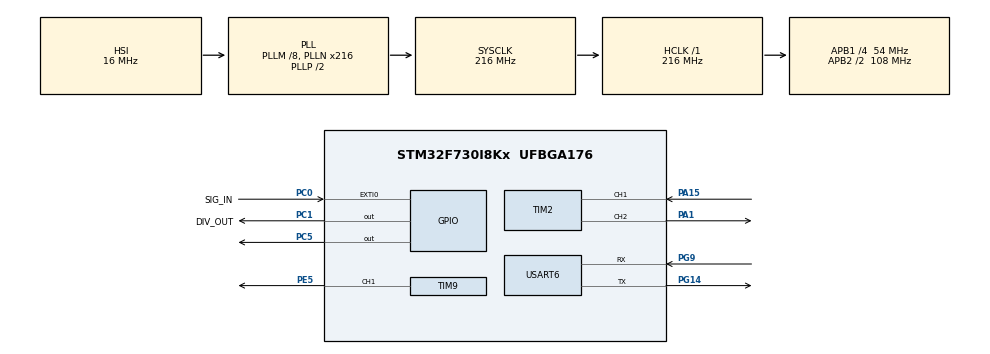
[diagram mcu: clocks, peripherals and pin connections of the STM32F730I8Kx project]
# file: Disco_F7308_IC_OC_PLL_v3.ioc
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Dma.Request0=TIM2_CH1
Dma.TIM2_CH1.0.Direction=DMA_PERIPH_TO_MEMORY
Dma.TIM2_CH1.0.FIFOMode=DMA_FIFOMODE_DISABLE
Dma.TIM2_CH1.0.Instance=DMA1_Stream5
Dma.TIM2_CH1.0.MemDataAlignment=DMA_MDATAALIGN_WORD
Dma.TIM2_CH1.0.MemInc=DMA_MINC_ENABLE
Dma.TIM2_CH1.0.Mode=DMA_CIRCULAR
Dma.TIM2_CH1.0.PeriphDataAlignment=DMA_PDATAALIGN_WORD
Dma.TIM2_CH1.0.PeriphInc=DMA_PINC_DISABLE
Dma.TIM2_CH1.0.Priority=DMA_PRIORITY_LOW
Mcu.Family=STM32F7
Mcu.Name=STM32F730I8Kx
Mcu.Package=UFBGA176
NVIC.DMA1_Stream5_IRQn=true\:0\:0\:false\:false\:true\:false\:true
NVIC.PriorityGroup=NVIC_PRIORITYGROUP_4
NVIC.TIM2_IRQn=true\:0\:0\:false\:false\:true\:true\:true
PA1.Signal=S_TIM2_CH2
PA15.Signal=S_TIM2_CH1_ETR
PC0.GPIO_Label=SIG_IN
PC0.Signal=GPXTI0
PC1.GPIO_Label=DIV_OUT
PC1.GPIO_Speed=GPIO_SPEED_FREQ_VERY_HIGH
PC1.Signal=GPIO_Output
PC5.GPIO_Speed=GPIO_SPEED_FREQ_VERY_HIGH
PC5.PinState=GPIO_PIN_RESET
PC5.Signal=GPIO_Output
PE5.Signal=S_TIM9_CH1
PG14.Mode=Asynchronous
PG14.Signal=USART6_TX
PG9.Mode=Asynchronous
PG9.Signal=USART6_RX
ProjectManager.HeapSize=0x200
ProjectManager.StackSize=0x400
ProjectManager.TargetToolchain=STM32CubeIDE
RCC.AHBFreq_Value=216000000
RCC.APB1CLKDivider=RCC_HCLK_DIV4
RCC.APB1Freq_Value=54000000
RCC.APB1TimFreq_Value=108000000
RCC.APB2CLKDivider=RCC_HCLK_DIV2
RCC.APB2Freq_Value=108000000
RCC.APB2TimFreq_Value=216000000
RCC.CortexFreq_Value=216000000
RCC.HCLKFreq_Value=216000000
RCC.HSE_VALUE=25000000
RCC.HSI_VALUE=16000000
RCC.LSE_VALUE=32768
RCC.PLLM=8
RCC.PLLN=216
RCC.PLLQ=9
RCC.SYSCLKFreq_VALUE=216000000
RCC.SYSCLKSource=RCC_SYSCLKSOURCE_PLLCLK
RCC.USBFreq_Value=48000000
RCC.VCOOutputFreq_Value=432000000
SH.S_TIM2_CH1_ETR.0=TIM2_CH1,Input_Capture1_from_TI1
SH.S_TIM2_CH2.0=TIM2_CH2,Output Compare2 CH2
SH.S_TIM9_CH1.0=TIM9_CH1,PWM Generation1 CH1
TIM2.Channel-Input_Capture1_from_TI1=TIM_CHANNEL_1
TIM2.Channel-Output\ Compare2\ CH2=TIM_CHANNEL_2
TIM2.OCMode_2=TIM_OCMODE_TOGGLE
TIM9.Channel-PWM\ Generation1\ CH1=TIM_CHANNEL_1
TIM9.Pulse-PWM\ Generation1\ CH1=32767
USART6.VirtualMode-Asynchronous=VM_ASYNC
VP_TIM2_VS_ClockSourceINT.Mode=Internal
VP_TIM9_VS_ClockSourceINT.Mode=Internal
board=STM32F7308-DK

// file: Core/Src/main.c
/* USER CODE BEGIN Header */
/**
 ******************************************************************************
 * @file           : main.c
 * @brief          : Main program body
 ******************************************************************************
 * @attention
 *
 * Copyright (c) 2022 STMicroelectronics.
 * All rights reserved.
 *
 * This software is licensed under terms that can be found in the LICENSE file
 * in the root directory of this software component.
 * If no LICENSE file comes with this software, it is provided AS-IS.
 *
 ******************************************************************************

  PE5  = TIM9_CH1 PWM  output
  PA15 = TIM2_CH1 IC   input
  PA1  = TIM2_CH2 OC   output

 */
/* USER CODE END Header */
#include "main.h"

/* USER CODE BEGIN Includes */
#include <stdio.h>
#include <math.h>
#include <string.h> /* strlen */
#include <inttypes.h>

/* USER CODE END Includes */

TIM_HandleTypeDef htim2;
TIM_HandleTypeDef htim9;
DMA_HandleTypeDef hdma_tim2_ch1;

UART_HandleTypeDef huart6;

/* USER CODE BEGIN PV */

uint32_t currentTime=0;
//uint32_t CH1_captures[2];
uint32_t last_CH1_capture, CH1_capture;
volatile uint8_t  CH1_captureDone = 0, toggle=0;
volatile uint32_t CH1_diffCapture = 0;
volatile uint32_t period = 0;
volatile uint32_t DIV=0;
volatile uint32_t DIV_counter=0, TIM2_counter=0;
volatile uint32_t start=1;
volatile float fperiod=0, fperiodErr = 0.;
volatile uint32_t MULTIPLIER, DIVIDER;
volatile float ratio;
/* USER CODE END PV */

void SystemClock_Config(void);
static void MX_GPIO_Init(void);
static void MX_DMA_Init(void);
static void MX_TIM2_Init(void);
static void MX_TIM9_Init(void);
static void MX_USART6_UART_Init(void);

/* USER CODE BEGIN 0 */
// WARNING UART6 is connected to st-link
// Properties -> Settings -> MCU_Settings -> select use float with printf
/*
 * USART6, BaudRate = 115200, WordLength = UART_WORDLENGTH_8B, StopBits = UART_STOPBITS_1;
 * */
int _write(int file, char *ptr, int len)
{
	HAL_UART_Transmit(&huart6,(uint8_t *)ptr, len, 10);
	return len;
}

/* USER CODE END 0 */

int main(void)
{

  /* MCU Configuration--------------------------------------------------------*/

  /* Reset of all peripherals, Initializes the Flash interface and the Systick. */
  HAL_Init();

  /* Configure the system clock */
  SystemClock_Config();

  /* Initialize all configured peripherals */
  MX_GPIO_Init();
  MX_DMA_Init();
  MX_TIM2_Init();
  MX_TIM9_Init();
  MX_USART6_UART_Init();
  /* USER CODE BEGIN 2 */

	MX_DMA_Init();

	printf("start\n");
	// TIM9_freq =216 MHz
	// T = (ARR+1)*(PSC+1)/216e6=  avec ARR=4999 et PSC=215
	// Pulse=24999 => freq = 200 Hz
	// T = (ARR+1)*(PSC+1)/216e6=  avec ARR=499 et PSC=215
	// Pulse=249 => freq = 2 kHz

	// T = (ARR+1)*(PSC+1)/216e6=10*108/216e6 =5e-6   avec ARR=9 et PSC=107
	// freq = 200 kHz

	/* clear the update flag in TIMx_SR before you enable the timer */
	TIM9->SR &= ~0x00000001;      // clear update event flag in TIM9
	// __HAL_TIM_CLEAR_IT(&htim9 ,TIM_IT_UPDATE);

	/* Set the Autoreload value */
	TIM9->ARR = 49 ;

	/* Set the Prescaler value */
	TIM9->PSC = 215;

	TIM9->CCR1 = TIM9->ARR >> 1;

	if (IS_TIM_REPETITION_COUNTER_INSTANCE(TIM9))
	{
		/* Set the Repetition TIM2_counter value */
		TIM9->RCR = 1;
	}

	/* Generate an update event to reload the Prescaler  and the repetition TIM2_counter value immediately */
	TIM9->EGR = TIM_EGR_UG;

	if ( HAL_OK != HAL_TIM_PWM_Start (&htim9, TIM_CHANNEL_1) )
		Error_Handler();

	if ( HAL_OK != HAL_TIM_IC_Start_DMA(&htim2, TIM_CHANNEL_1, (uint32_t*) &CH1_capture, 1) )
		Error_Handler();

	if ( HAL_OK != HAL_TIM_OC_Start_IT(&htim2, TIM_CHANNEL_2) )
		Error_Handler();

	// assumption check TIM2->ARR =0xffffffff
	if (0xffffffff != TIM2->ARR)
		Error_Handler();

	CH1_captureDone = 0;

	//MULTIPLIER = 12503;
	//DIVIDER    =  4096;

	MULTIPLIER =  12503;
	DIVIDER    =   4096;
	ratio = (float) DIVIDER/ (float)MULTIPLIER/ 2.;

	while (0 == CH1_captureDone) { ; }
	CH1_captureDone=0;

	while (0 == CH1_captureDone) { ; }
	CH1_diffCapture = CH1_capture- last_CH1_capture;
	last_CH1_capture = CH1_capture;
	TIM2->CCR2 = TIM2->CNT+CH1_diffCapture;
	CH1_captureDone=0;

	fperiod = (float) CH1_diffCapture*ratio;
	period = (uint32_t) (fperiod);

  /* USER CODE END 2 */

  /* Infinite loop */
	while (1)
	{

    /* USER CODE BEGIN 3 */
		if (CH1_captureDone != 0) {

			if (0 == CH1_diffCapture) Error_Handler();
            printf("period %lu\n", period);
			CH1_captureDone=0;

//#define SRC_VAR
#ifdef SRC_VAR
			TIM9->ARR++;
			TIM9->CCR1 = TIM9->ARR >> 1;
#endif

		}

	}
  /* USER CODE END 3 */
}

void SystemClock_Config(void)
{
  RCC_OscInitTypeDef RCC_OscInitStruct = {0};
  RCC_ClkInitTypeDef RCC_ClkInitStruct = {0};

  /** Configure the main internal regulator output voltage
  */
  __HAL_RCC_PWR_CLK_ENABLE();
  __HAL_PWR_VOLTAGESCALING_CONFIG(PWR_REGULATOR_VOLTAGE_SCALE1);
  /** Initializes the RCC Oscillators according to the specified parameters
  * in the RCC_OscInitTypeDef structure.
  */
  RCC_OscInitStruct.OscillatorType = RCC_OSCILLATORTYPE_HSI;
  RCC_OscInitStruct.HSIState = RCC_HSI_ON;
  RCC_OscInitStruct.HSICalibrationValue = RCC_HSICALIBRATION_DEFAULT;
  RCC_OscInitStruct.PLL.PLLState = RCC_PLL_ON;
  RCC_OscInitStruct.PLL.PLLSource = RCC_PLLSOURCE_HSI;
  RCC_OscInitStruct.PLL.PLLM = 8;
  RCC_OscInitStruct.PLL.PLLN = 216;
  RCC_OscInitStruct.PLL.PLLP = RCC_PLLP_DIV2;
  RCC_OscInitStruct.PLL.PLLQ = 9;
  if (HAL_RCC_OscConfig(&RCC_OscInitStruct) != HAL_OK)
  {
    Error_Handler();
  }
  /** Activate the Over-Drive mode
  */
  if (HAL_PWREx_EnableOverDrive() != HAL_OK)
  {
    Error_Handler();
  }
  /** Initializes the CPU, AHB and APB buses clocks
  */
  RCC_ClkInitStruct.ClockType = RCC_CLOCKTYPE_HCLK|RCC_CLOCKTYPE_SYSCLK
                              |RCC_CLOCKTYPE_PCLK1|RCC_CLOCKTYPE_PCLK2;
  RCC_ClkInitStruct.SYSCLKSource = RCC_SYSCLKSOURCE_PLLCLK;
  RCC_ClkInitStruct.AHBCLKDivider = RCC_SYSCLK_DIV1;
  RCC_ClkInitStruct.APB1CLKDivider = RCC_HCLK_DIV4;
  RCC_ClkInitStruct.APB2CLKDivider = RCC_HCLK_DIV2;

  if (HAL_RCC_ClockConfig(&RCC_ClkInitStruct, FLASH_LATENCY_7) != HAL_OK)
  {
    Error_Handler();
  }
}

static void MX_TIM2_Init(void)
{

  TIM_ClockConfigTypeDef sClockSourceConfig = {0};
  TIM_MasterConfigTypeDef sMasterConfig = {0};
  TIM_IC_InitTypeDef sConfigIC = {0};
  TIM_OC_InitTypeDef sConfigOC = {0};

  htim2.Instance = TIM2;
  htim2.Init.Prescaler = 0;
  htim2.Init.CounterMode = TIM_COUNTERMODE_UP;
  htim2.Init.Period = 4294967295;
  htim2.Init.ClockDivision = TIM_CLOCKDIVISION_DIV1;
  htim2.Init.AutoReloadPreload = TIM_AUTORELOAD_PRELOAD_DISABLE;
  if (HAL_TIM_Base_Init(&htim2) != HAL_OK)
  {
    Error_Handler();
  }
  sClockSourceConfig.ClockSource = TIM_CLOCKSOURCE_INTERNAL;
  if (HAL_TIM_ConfigClockSource(&htim2, &sClockSourceConfig) != HAL_OK)
  {
    Error_Handler();
  }
  if (HAL_TIM_IC_Init(&htim2) != HAL_OK)
  {
    Error_Handler();
  }
  if (HAL_TIM_OC_Init(&htim2) != HAL_OK)
  {
    Error_Handler();
  }
  sMasterConfig.MasterOutputTrigger = TIM_TRGO_RESET;
  sMasterConfig.MasterSlaveMode = TIM_MASTERSLAVEMODE_DISABLE;
  if (HAL_TIMEx_MasterConfigSynchronization(&htim2, &sMasterConfig) != HAL_OK)
  {
    Error_Handler();
  }
  sConfigIC.ICPolarity = TIM_INPUTCHANNELPOLARITY_RISING;
  sConfigIC.ICSelection = TIM_ICSELECTION_DIRECTTI;
  sConfigIC.ICPrescaler = TIM_ICPSC_DIV1;
  sConfigIC.ICFilter = 0;
  if (HAL_TIM_IC_ConfigChannel(&htim2, &sConfigIC, TIM_CHANNEL_1) != HAL_OK)
  {
    Error_Handler();
  }
  sConfigOC.OCMode = TIM_OCMODE_TOGGLE;
  sConfigOC.Pulse = 0;
  sConfigOC.OCPolarity = TIM_OCPOLARITY_HIGH;
  sConfigOC.OCFastMode = TIM_OCFAST_DISABLE;
  if (HAL_TIM_OC_ConfigChannel(&htim2, &sConfigOC, TIM_CHANNEL_2) != HAL_OK)
  {
    Error_Handler();
  }
  HAL_TIM_MspPostInit(&htim2);

}

static void MX_TIM9_Init(void)
{

  TIM_ClockConfigTypeDef sClockSourceConfig = {0};
  TIM_OC_InitTypeDef sConfigOC = {0};

  htim9.Instance = TIM9;
  htim9.Init.Prescaler = 0;
  htim9.Init.CounterMode = TIM_COUNTERMODE_UP;
  htim9.Init.Period = 65535;
  htim9.Init.ClockDivision = TIM_CLOCKDIVISION_DIV1;
  htim9.Init.AutoReloadPreload = TIM_AUTORELOAD_PRELOAD_DISABLE;
  if (HAL_TIM_Base_Init(&htim9) != HAL_OK)
  {
    Error_Handler();
  }
  sClockSourceConfig.ClockSource = TIM_CLOCKSOURCE_INTERNAL;
  if (HAL_TIM_ConfigClockSource(&htim9, &sClockSourceConfig) != HAL_OK)
  {
    Error_Handler();
  }
  if (HAL_TIM_PWM_Init(&htim9) != HAL_OK)
  {
    Error_Handler();
  }
  sConfigOC.OCMode = TIM_OCMODE_PWM1;
  sConfigOC.Pulse = 32767;
  sConfigOC.OCPolarity = TIM_OCPOLARITY_HIGH;
  sConfigOC.OCFastMode = TIM_OCFAST_DISABLE;
  if (HAL_TIM_PWM_ConfigChannel(&htim9, &sConfigOC, TIM_CHANNEL_1) != HAL_OK)
  {
    Error_Handler();
  }
  HAL_TIM_MspPostInit(&htim9);

}

static void MX_USART6_UART_Init(void)
{

  huart6.Instance = USART6;
  huart6.Init.BaudRate = 115200;
  huart6.Init.WordLength = UART_WORDLENGTH_8B;
  huart6.Init.StopBits = UART_STOPBITS_1;
  huart6.Init.Parity = UART_PARITY_NONE;
  huart6.Init.Mode = UART_MODE_TX_RX;
  huart6.Init.HwFlowCtl = UART_HWCONTROL_NONE;
  huart6.Init.OverSampling = UART_OVERSAMPLING_16;
  huart6.Init.OneBitSampling = UART_ONE_BIT_SAMPLE_DISABLE;
  huart6.AdvancedInit.AdvFeatureInit = UART_ADVFEATURE_NO_INIT;
  if (HAL_UART_Init(&huart6) != HAL_OK)
  {
    Error_Handler();
  }

}

static void MX_DMA_Init(void)
{

  /* DMA controller clock enable */
  __HAL_RCC_DMA1_CLK_ENABLE();

  /* DMA interrupt init */
  /* DMA1_Stream5_IRQn interrupt configuration */
  HAL_NVIC_SetPriority(DMA1_Stream5_IRQn, 0, 0);
  HAL_NVIC_EnableIRQ(DMA1_Stream5_IRQn);

}

static void MX_GPIO_Init(void)
{
  GPIO_InitTypeDef GPIO_InitStruct = {0};

  /* GPIO Ports Clock Enable */
  __HAL_RCC_GPIOG_CLK_ENABLE();
  __HAL_RCC_GPIOA_CLK_ENABLE();
  __HAL_RCC_GPIOE_CLK_ENABLE();
  __HAL_RCC_GPIOC_CLK_ENABLE();

  /*Configure GPIO pin Output Level */
  HAL_GPIO_WritePin(GPIOC, DIV_OUT_Pin|GPIO_PIN_5, GPIO_PIN_RESET);

  /*Configure GPIO pin : SIG_IN_Pin */
  GPIO_InitStruct.Pin = SIG_IN_Pin;
  GPIO_InitStruct.Mode = GPIO_MODE_IT_RISING;
  GPIO_InitStruct.Pull = GPIO_NOPULL;
  HAL_GPIO_Init(SIG_IN_GPIO_Port, &GPIO_InitStruct);

  /*Configure GPIO pins : DIV_OUT_Pin PC5 */
  GPIO_InitStruct.Pin = DIV_OUT_Pin|GPIO_PIN_5;
  GPIO_InitStruct.Mode = GPIO_MODE_OUTPUT_PP;
  GPIO_InitStruct.Pull = GPIO_NOPULL;
  GPIO_InitStruct.Speed = GPIO_SPEED_FREQ_VERY_HIGH;
  HAL_GPIO_Init(GPIOC, &GPIO_InitStruct);

}

/* USER CODE BEGIN 4 */

void HAL_GPIO_EXTI_Callback(uint16_t GPIO_Pin)
{
	if(GPIO_Pin == SIG_IN_Pin) {
		DIV_counter++;
		if (DIV_counter >= (DIVIDER)){
			//	     HAL_GPIO_TogglePin(GPIOC, GPIO_PIN_1);  // Toggle
			// Set selected pins that were at low level, and reset ones that were high
			GPIOC->BSRR = ((GPIOC->ODR & DIV_OUT_Pin) << 16) | (~GPIOC->ODR & DIV_OUT_Pin);
			DIV_counter=0;
		}
	}

}

void HAL_TIM_OC_DelayElapsedCallback(TIM_HandleTypeDef *htim) {
	if (htim->Channel == HAL_TIM_ACTIVE_CHANNEL_2){
		period = (uint32_t) (fperiod + fperiodErr);
		TIM2->CCR2 += period;
		fperiodErr = fperiod - period;
	}
}

void HAL_TIM_IC_CaptureCallback(TIM_HandleTypeDef *htim) {
	if (htim->Channel == HAL_TIM_ACTIVE_CHANNEL_1) {
		// This is the time at which the input pulse had the second rising edge.
		//currentTime= htim->Instance->CCR1;
		   CH1_diffCapture = CH1_capture- last_CH1_capture;
		   last_CH1_capture = CH1_capture;

		fperiod = (float) CH1_diffCapture*ratio;
		CH1_captureDone = 1;

//#define CHECK
#ifdef CHECK
		DIV_counter++;
		if (DIV_counter >= (DIVIDER)){
			//	     HAL_GPIO_TogglePin(GPIOC, GPIO_PIN_1);  // Toggle
			// Set selected pins that were at low level, and reset ones that were high
			GPIOC->BSRR = ((GPIOC->ODR & DIV_OUT_Pin) << 16) | (~GPIOC->ODR & DIV_OUT_Pin);
			DIV_counter=0;
		}
#endif
	}
}

/* USER CODE END 4 */

void Error_Handler(void)
{
  /* USER CODE BEGIN Error_Handler_Debug */
	/* User can add his own implementation to report the HAL error return state */
	while (1)
	{
		HAL_GPIO_TogglePin(GPIOA, GPIO_PIN_7);
		HAL_Delay(500);
	}
  /* USER CODE END Error_Handler_Debug */
}
